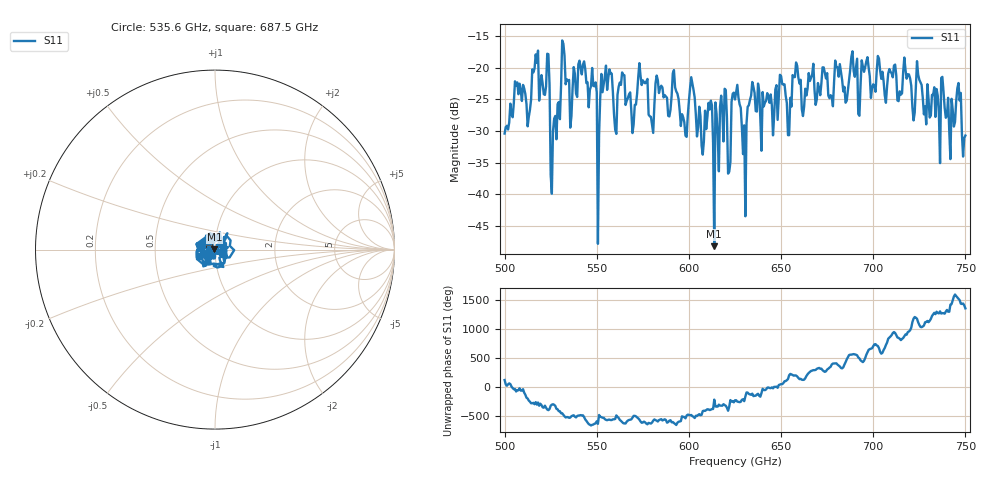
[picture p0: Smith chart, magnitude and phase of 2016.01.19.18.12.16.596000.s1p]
!Created with skrf (http://scikit-rf.org).
# GHz S RI R 50.0
!freq ReS11 ImS11
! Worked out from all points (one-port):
!   401 points, 500 GHz to 750 GHz, reference 50 ohm
!   lowest |S11| = -48.2 dB at 613.8 GHz (marker M1), VSWR 1.01, Z = 49.7 + j0.206 ohm
!   |S11| at or under -10 dB: start of sweep to end of sweep
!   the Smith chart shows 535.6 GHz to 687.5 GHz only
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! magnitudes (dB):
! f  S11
! 500 GHz  -30.4
! 506.9 GHz  -22.3
! 513.1 GHz  -27.7
! 516.9 GHz  -17.9
! 523.1 GHz  -17.8
! 526.2 GHz  -30.0
! 531.2 GHz  -15.7
! 548.8 GHz  -22.9
! 550.6 GHz  -47.9
! 553.8 GHz  -22.6
! 560 GHz  -29.8
! 562.5 GHz  -22.3
! 570 GHz  -29.0
! 576.2 GHz  -22.5
! 579.4 GHz  -27.8
! 593.8 GHz  -24.1
! 613.8 GHz  -48.2
! 618.8 GHz  -31.7
! 621.9 GHz  -36.4
! 625 GHz  -25.0
! 630 GHz  -29.1
! 634.4 GHz  -22.2
! 656.2 GHz  -21.2
! 687.5 GHz  -20.3
! 718.8 GHz  -21.0
! 740.6 GHz  -24.7
! 746.2 GHz  -22.4
! 750 GHz  -30.7
